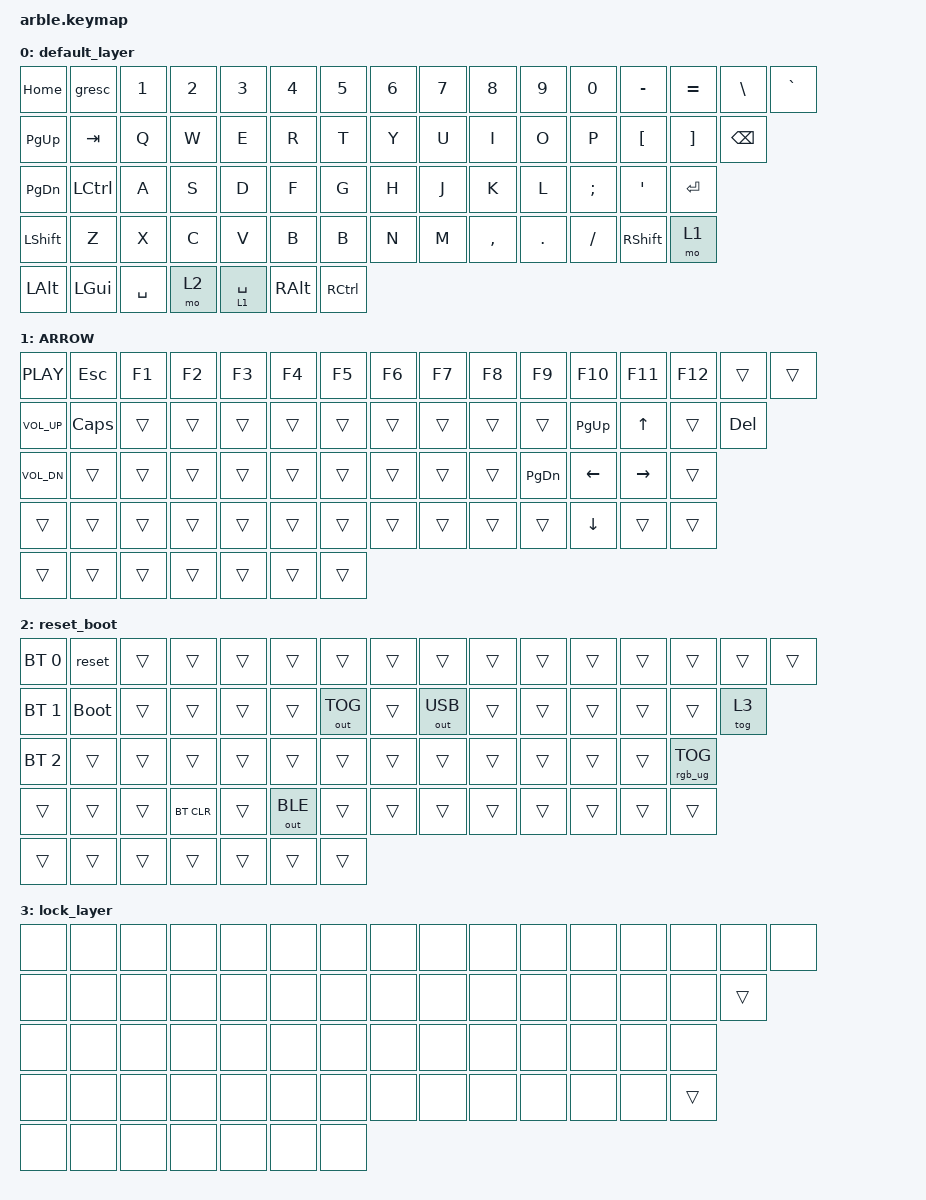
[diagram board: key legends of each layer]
/*
 * Copyright (c) 2021 Nick Winans
 *
 * SPDX-License-Identifier: MIT
 */

#include <behaviors.dtsi>
#include <dt-bindings/zmk/bt.h>
#include <dt-bindings/zmk/keys.h>
#include <dt-bindings/zmk/outputs.h>
#include <dt-bindings/zmk/rgb.h>

/ {
    keymap {
        compatible = "zmk,keymap";

        default_layer {
            bindings = <
&kp HOME     &gresc     &kp N1     &kp N2  &kp N3       &kp N4    &kp N5     &kp N6  &kp N7  &kp N8     &kp N9   &kp N0    &kp MINUS  &kp EQUAL  &kp BSLH  &kp GRAVE
&kp PAGE_UP  &kp TAB    &kp Q      &kp W   &kp E        &kp R     &kp T      &kp Y   &kp U   &kp I      &kp O    &kp P     &kp LBKT   &kp RBKT   &kp BSPC
&kp PG_DN    &kp LCTRL  &kp A      &kp S   &kp D        &kp F     &kp G      &kp H   &kp J   &kp K      &kp L    &kp SEMI  &kp SQT    &kp RET
&kp LSHFT    &kp Z      &kp X      &kp C   &kp V        &kp B     &kp B      &kp N   &kp M   &kp COMMA  &kp DOT  &kp FSLH  &kp RSHFT  &mo 1
&kp LALT     &kp LGUI   &kp SPACE  &mo 2   &lt 1 SPACE  &kp RALT  &kp RCTRL
            >;
        };

        ARROW {
            bindings = <
&kp C_PLAY    &kp ESC   &kp F1  &kp F2  &kp F3  &kp F4  &kp F5  &kp F6  &kp F7  &kp F8  &kp F9         &kp F10      &kp F11    &kp F12  &trans      &trans
&kp C_VOL_UP  &kp CAPS  &trans  &trans  &trans  &trans  &trans  &trans  &trans  &trans  &trans         &kp PAGE_UP  &kp UP     &trans   &kp DELETE
&kp C_VOL_DN  &trans    &trans  &trans  &trans  &trans  &trans  &trans  &trans  &trans  &kp PAGE_DOWN  &kp LEFT     &kp RIGHT  &trans
&trans        &trans    &trans  &trans  &trans  &trans  &trans  &trans  &trans  &trans  &trans         &kp DOWN     &trans     &trans
&trans        &trans    &trans  &trans  &trans  &trans  &trans
            >;
        };

        reset_boot {
            bindings = <
&bt BT_SEL 0  &reset       &trans  &trans      &trans  &trans        &trans        &trans  &trans        &trans  &trans  &trans  &trans  &trans           &trans  &trans
&bt BT_SEL 1  &bootloader  &trans  &trans      &trans  &trans        &out OUT_TOG  &trans  &out OUT_USB  &trans  &trans  &trans  &trans  &trans           &tog 3
&bt BT_SEL 2  &trans       &trans  &trans      &trans  &trans        &trans        &trans  &trans        &trans  &trans  &trans  &trans  &rgb_ug RGB_TOG
&trans        &trans       &trans  &bt BT_CLR  &trans  &out OUT_BLE  &trans        &trans  &trans        &trans  &trans  &trans  &trans  &trans
&trans        &trans       &trans  &trans      &trans  &trans        &trans
            >;
        };

        lock_layer {
            bindings = <
&none  &none  &none  &none  &none  &none  &none  &none  &none  &none  &none  &none  &none  &none   &none   &none
&none  &none  &none  &none  &none  &none  &none  &none  &none  &none  &none  &none  &none  &none   &trans
&none  &none  &none  &none  &none  &none  &none  &none  &none  &none  &none  &none  &none  &none
&none  &none  &none  &none  &none  &none  &none  &none  &none  &none  &none  &none  &none  &trans
&none  &none  &none  &none  &none  &none  &none
            >;
        };
    };
};
